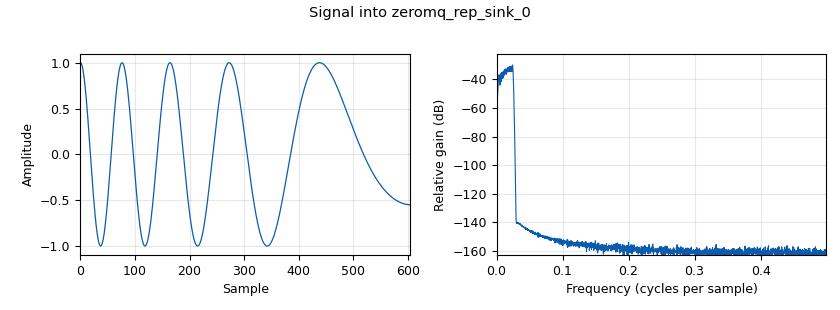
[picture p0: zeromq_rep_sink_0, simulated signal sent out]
options:
  parameters:
    generate_options: qt_gui
    id: zmq_audio_test
    output_language: python
  states: {}

blocks:
- name: samp_rate
  id: variable
  parameters:
    value: '32000'
  states: {}
- name: analog_sig_source_x_0
  id: analog_sig_source_x
  parameters:
    amp: '100'
    freq: '5'
    offset: '0'
    phase: '0'
    samp_rate: samp_rate
    type: float
    waveform: analog.GR_COS_WAVE
  states: {}
- name: audio_sink_0
  id: audio_sink
  parameters:
    num_inputs: '2'
    samp_rate: samp_rate
  states: {}
- name: blocks_pdu_to_tagged_stream_0
  id: blocks_pdu_to_tagged_stream
  parameters:
    tag: packet_len
    type: float
  states: {state: disabled}
- name: blocks_stream_to_tagged_stream_0
  id: blocks_stream_to_tagged_stream
  parameters:
    len_tag_key: '"packet_len"'
    maxoutbuf: '1024'
    minoutbuf: '64'
    packet_len: '1'
    type: float
  states: {}
- name: blocks_tagged_stream_align_0
  id: blocks_tagged_stream_align
  parameters:
    lengthtagname: packet_len
    maxoutbuf: '1024'
    minoutbuf: '64'
    type: float
  states: {state: disabled}
- name: blocks_tagged_stream_to_pdu_0
  id: blocks_tagged_stream_to_pdu
  parameters:
    tag: packet_len
    type: float
  states: {state: disabled}
- name: blocks_vco_f_0
  id: blocks_vco_f
  parameters:
    amplitude: '1'
    samp_rate: samp_rate
    sensitivity: '50'
  states: {}
- name: note_0
  id: note
  parameters:
    note: REP/REQ path works, PUSH/PULL is glitchy
  states: {}
- name: zeromq_pull_msg_source_0
  id: zeromq_pull_msg_source
  parameters:
    address: tcp://127.0.0.1:5555
    timeout: '100'
  states: {state: disabled}
- name: zeromq_push_msg_sink_0
  id: zeromq_push_msg_sink
  parameters:
    address: tcp://127.0.0.1:5555
    timeout: '100'
  states: {state: disabled}
- name: zeromq_rep_sink_0
  id: zeromq_rep_sink
  parameters:
    address: tcp://127.0.0.1:5555
    pass_tags: 'True'
    timeout: '100'
    type: float
  states: {}
- name: zeromq_req_source_0
  id: zeromq_req_source
  parameters:
    address: tcp://127.0.0.1:5555
    pass_tags: 'True'
    timeout: '100'
    type: float
  states: {}

connections:
- [analog_sig_source_x_0, '0', blocks_vco_f_0, '0']
- [blocks_pdu_to_tagged_stream_0, '0', blocks_tagged_stream_align_0, '0']
- [blocks_stream_to_tagged_stream_0, '0', blocks_tagged_stream_to_pdu_0, '0']
- [blocks_stream_to_tagged_stream_0, '0', zeromq_rep_sink_0, '0']
- [blocks_tagged_stream_align_0, '0', audio_sink_0, '0']
- [blocks_tagged_stream_align_0, '0', audio_sink_0, '1']
- [blocks_tagged_stream_to_pdu_0, pdus, zeromq_push_msg_sink_0, in]
- [blocks_vco_f_0, '0', blocks_stream_to_tagged_stream_0, '0']
- [zeromq_pull_msg_source_0, out, blocks_pdu_to_tagged_stream_0, pdus]
- [zeromq_req_source_0, '0', audio_sink_0, '0']
- [zeromq_req_source_0, '0', audio_sink_0, '1']
- [zeromq_req_source_0, '0', blocks_tagged_stream_align_0, '0']

metadata:
  file_format: 1
